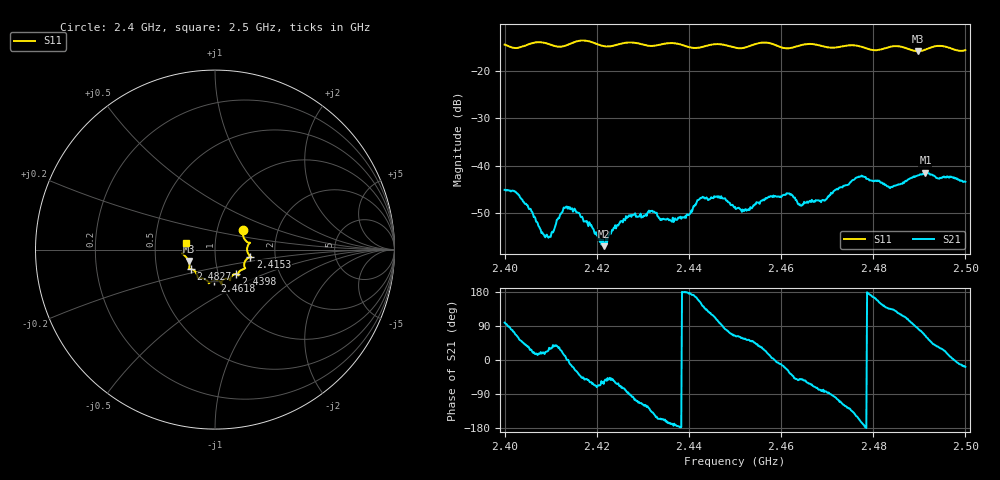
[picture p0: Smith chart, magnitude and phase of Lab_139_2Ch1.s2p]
# Hz S RI R 50
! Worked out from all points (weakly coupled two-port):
!   601 points, 2.4 GHz to 2.5 GHz, reference 50 ohm
!   highest |S21| = -41.44 dB at 2.4913 GHz (marker M1); lowest = -56.9 dB at 2.4215 GHz (marker M2)
!   lowest |S11| = -15.9 dB at 2.4897 GHz (marker M3), VSWR 1.38, Z = 36.9 - j4.85 ohm
!   |S11| at or under -10 dB: start of sweep to end of sweep
!   S12 and S22 are empty: the file has one direction only
!   S11 on the Smith chart (normalised r, x): 2.4 GHz: 1.33, +0.29; 2.4153 GHz: 1.49, -0.12; 2.4398 GHz: 1.21, -0.34; 2.4618 GHz: 0.94, -0.33; 2.4827 GHz: 0.75, -0.17; 2.5 GHz: 0.72, +0.06
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2.4e9  0.1551 0.1065  -0.000851 0.00553  0 0  0 0
2.402833e9  0.1627 0.061  0.0025 0.00446  0 0  0 0
2.409167e9  0.1904 0.0344  0.00175 0.000715  0 0  0 0
2.413e9  0.1814 -0.0143  0.00356 0.000731  0 0  0 0
2.415333e9  0.1973 -0.0392  0.00308 -0.00159  0 0  0 0
2.416667e9  0.2031 -0.0433  0.00201 -0.00208  0 0  0 0
2.4215e9  0.1711 -0.0591  0.000649 -0.00128  0 0  0 0
2.426833e9  0.1684 -0.1039  0.000224 -0.0029  0 0  0 0
2.433333e9  0.1292 -0.134  -0.00266 -0.00123  0 0  0 0
2.439833e9  0.1152 -0.1355  -0.00304 0.000161  0 0  0 0
2.442833e9  0.0896 -0.1529  -0.00381 0.00268  0 0  0 0
2.447333e9  0.0835 -0.1686  3.31e-05 0.00457  0 0  0 0
2.45e9  0.065 -0.1623  0.00161 0.00334  0 0  0 0
2.461833e9  -0.00378 -0.1725  0.00426 -0.00286  0 0  0 0
2.464167e9  -0.0293 -0.1826  0.00241 -0.00299  0 0  0 0
2.466667e9  -0.0348 -0.1876  0.00189 -0.00398  0 0  0 0
2.477e9  -0.0966 -0.1529  -0.00707 -0.00293  0 0  0 0
2.482667e9  -0.1346 -0.1085  -0.00485 0.0041  0 0  0 0
2.483333e9  -0.1397 -0.1081  -0.00431 0.00427  0 0  0 0
2.489667e9  -0.1469 -0.0641  0.000865 0.00791  0 0  0 0
2.491333e9  -0.1612 -0.0416  0.00368 0.00763  0 0  0 0
2.5e9  -0.1599 0.0389  0.00647 -0.00212  0 0  0 0
